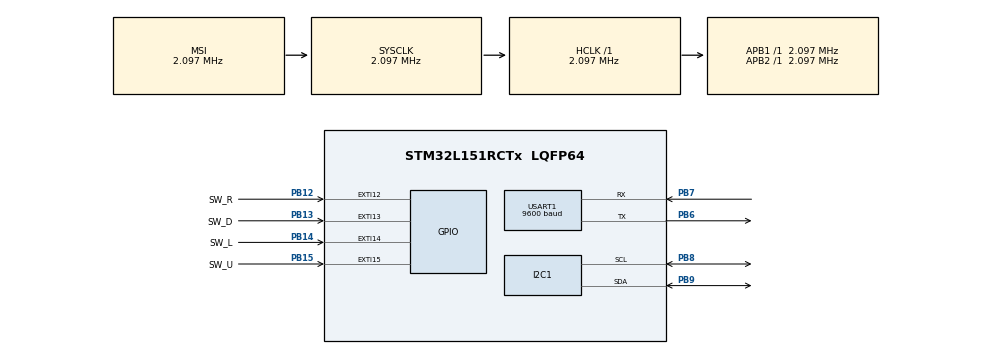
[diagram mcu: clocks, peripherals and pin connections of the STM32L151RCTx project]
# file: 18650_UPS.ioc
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Mcu.Family=STM32L1
Mcu.Name=STM32L151RCTx
Mcu.Package=LQFP64
NVIC.EXTI15_10_IRQn=true\:0\:0\:false\:false\:true\:true\:true
NVIC.PriorityGroup=NVIC_PRIORITYGROUP_4
NVIC.TIM2_IRQn=true\:0\:0\:false\:false\:true\:true\:true
PA13.Mode=Serial_Wire
PA13.Signal=SYS_JTMS-SWDIO
PA14.Mode=Serial_Wire
PA14.Signal=SYS_JTCK-SWCLK
PB12.GPIO_Label=SW_R
PB12.GPIO_ModeDefaultEXTI=GPIO_MODE_IT_FALLING
PB12.GPIO_PuPd=GPIO_PULLUP
PB12.Signal=GPXTI12
PB13.GPIO_Label=SW_D
PB13.GPIO_ModeDefaultEXTI=GPIO_MODE_IT_FALLING
PB13.GPIO_PuPd=GPIO_PULLUP
PB13.Signal=GPXTI13
PB14.GPIO_Label=SW_L
PB14.GPIO_ModeDefaultEXTI=GPIO_MODE_IT_FALLING
PB14.GPIO_PuPd=GPIO_PULLUP
PB14.Signal=GPXTI14
PB15.GPIO_Label=SW_U
PB15.GPIO_ModeDefaultEXTI=GPIO_MODE_IT_FALLING
PB15.GPIO_PuPd=GPIO_PULLUP
PB15.Signal=GPXTI15
PB6.GPIO_PuPd=GPIO_PULLUP
PB6.Mode=Asynchronous
PB6.Signal=USART1_TX
PB7.GPIO_PuPd=GPIO_PULLUP
PB7.Mode=Asynchronous
PB7.Signal=USART1_RX
PB8.Mode=I2C
PB8.Signal=I2C1_SCL
PB9.Mode=I2C
PB9.Signal=I2C1_SDA
ProjectManager.HeapSize=0x200
ProjectManager.StackSize=0x400
ProjectManager.TargetToolchain=STM32CubeIDE
RCC.AHBFreq_Value=2097000
RCC.APB1Freq_Value=2097000
RCC.APB1TimFreq_Value=2097000
RCC.APB2Freq_Value=2097000
RCC.APB2TimFreq_Value=2097000
RCC.HCLKFreq_Value=2097000
RCC.HSE_VALUE=24000000
RCC.HSI_VALUE=16000000
RCC.LSE_VALUE=32768
RCC.MSI_VALUE=2097000
RCC.SYSCLKFreq_VALUE=2097000
RCC.VCOOutputFreq_Value=48000000
TIM2.Period=50
TIM2.Prescaler=2097
USART1.BaudRate=9600
USART1.VirtualMode=VM_ASYNC
VP_TIM2_VS_ClockSourceINT.Mode=Internal
board=custom

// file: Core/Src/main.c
/* USER CODE BEGIN Header */
/**
  ******************************************************************************
  * @file           : main.c
  * @brief          : Main program body
  ******************************************************************************
  * @attention
  *
  * <h2><center>&copy; Copyright (c) 2021 STMicroelectronics.
  * All rights reserved.</center></h2>
  *
  * This software component is licensed by ST under BSD 3-Clause license,
  * the "License"; You may not use this file except in compliance with the
  * License. You may obtain a copy of the License at:
  *                        opensource.org/licenses/BSD-3-Clause
  *
  ******************************************************************************
  */
/* USER CODE END Header */
#include "main.h"

/* USER CODE BEGIN Includes */
#include "ssd1306.h"
#include "stdio.h"
/* USER CODE END Includes */

I2C_HandleTypeDef hi2c1;

TIM_HandleTypeDef htim2;

UART_HandleTypeDef huart1;

/* USER CODE BEGIN PV */
uint8_t aRxBuffer[3];
uint8_t TxBuffer[2];
uint8_t charBuffer[10];
uint16_t temp;

volatile uint8_t read_state = 0;
uint8_t state_SW_U = 0;
uint8_t state_SW_D = 0;
uint8_t state_SW_L = 0;
uint8_t state_SW_R = 0;

volatile uint8_t contrast = 0xFF;
volatile uint8_t charge_enable = 1;
volatile uint8_t usb_version = 2;
/* USER CODE END PV */

void SystemClock_Config(void);
static void MX_GPIO_Init(void);
static void MX_USART1_UART_Init(void);
static void MX_I2C1_Init(void);
static void MX_TIM2_Init(void);

int main(void)
{

  /* MCU Configuration--------------------------------------------------------*/

  /* Reset of all peripherals, Initializes the Flash interface and the Systick. */
  HAL_Init();

  /* Configure the system clock */
  SystemClock_Config();

  /* Initialize all configured peripherals */
  MX_GPIO_Init();
  MX_USART1_UART_Init();
  MX_I2C1_Init();
  MX_TIM2_Init();
  /* USER CODE BEGIN 2 */
  ssd1306_Init();

  //resetting ina237
  TxBuffer[0] = 0x80;
  TxBuffer[1] = 0x00;
  HAL_I2C_Mem_Write(&hi2c1, 0x45<<1, 0x00, 1, TxBuffer, sizeof(TxBuffer), 1000);

  //setting adc range
  TxBuffer[0] = 0x00;
  TxBuffer[1] = 0x10;
  HAL_I2C_Mem_Write(&hi2c1, 0x45<<1, 0x00, 1, TxBuffer, sizeof(TxBuffer), 1000);

  //calibrating shunt register
  TxBuffer[0] = 0x07;
  TxBuffer[1] = 0xD0;
  HAL_I2C_Mem_Write(&hi2c1, 0x45<<1, 0x02, 1, TxBuffer, sizeof(TxBuffer), 1000);

  //adc_config
  HAL_I2C_Mem_Read(&hi2c1, 0x45<<1, 0x01, 1, aRxBuffer, sizeof(aRxBuffer), 1000);
  temp = (aRxBuffer[0]<<8) | aRxBuffer[1];
  TxBuffer[0] = aRxBuffer[0];
  TxBuffer[1] = aRxBuffer[1] | 0x05;
  HAL_I2C_Mem_Write(&hi2c1, 0x45<<1, 0x01, 1, TxBuffer, sizeof(TxBuffer), 1000);

  //charge config default
  HAL_I2C_Mem_Read(&hi2c1, 0x09<<1, 0x01, 1, aRxBuffer, sizeof(aRxBuffer), 1000);
  TxBuffer[0] = 0b00000100; 	//charge enable and UVLO 2.8V
  TxBuffer[1] = 0x00;
  HAL_I2C_Mem_Write(&hi2c1, 0x09<<1, 0x01, 1, TxBuffer, 1, 1000);
  HAL_I2C_Mem_Read(&hi2c1, 0x09<<1, 0x01, 1, aRxBuffer, sizeof(aRxBuffer), 1000);

  //setting initial charge curretn to usb 2 compliant
  TxBuffer[0] = 0b01001011;
  TxBuffer[1] = 0x00;
  HAL_I2C_Mem_Write(&hi2c1, 0x09<<1, 0x00, 1, TxBuffer, 1, 1000);
  TxBuffer[0] = 0b00001110;
  TxBuffer[1] = 0x00;
  HAL_I2C_Mem_Write(&hi2c1, 0x09<<1, 0x02, 1, TxBuffer, 1, 1000);

  /* USER CODE END 2 */

  /* Infinite loop */
  while (1)
  {

    /* USER CODE BEGIN 3 */

	  ssd1306_Fill(Black);

	  switch (read_state) {
	  	  case 0:
	  		  //vbus
			  HAL_I2C_Mem_Read(&hi2c1, 0x45<<1, 0x05, 1, aRxBuffer, sizeof(aRxBuffer), 1000);
			  temp = 3.125*(float)((aRxBuffer[0]<<8) | aRxBuffer[1]);
			  sprintf(charBuffer, "%u mV", temp);
			  ssd1306_SetCursor(0, 14);
			  ssd1306_WriteString(&charBuffer, Font_11x18, White);
			  sprintf(charBuffer, "Voltage:");
			  ssd1306_SetCursor(0, 0);
			  ssd1306_WriteString(&charBuffer, Font_7x10, White);
			  ssd1306_DrawRectangle(124, 0, 127, 3, White);
			  ssd1306_DrawRectangle(125, 1, 126, 2, White);
	  		  break;
	  	  case 1:
			  //current
			  HAL_I2C_Mem_Read(&hi2c1, 0x45<<1, 0x07, 1, aRxBuffer, sizeof(aRxBuffer), 1000);
			  temp = 0.0610352*(float)((aRxBuffer[0]<<8) | aRxBuffer[1]);
			  sprintf(charBuffer, "%u mA", temp);
			  ssd1306_SetCursor(0, 14);
			  ssd1306_WriteString(&charBuffer, Font_11x18, White);
			  sprintf(charBuffer, "Current output:");
			  ssd1306_SetCursor(0, 0);
			  ssd1306_WriteString(&charBuffer, Font_7x10, White);
			  ssd1306_DrawRectangle(124, 4, 127, 7, White);
			  ssd1306_DrawRectangle(125, 5, 126, 6, White);
	  		  break;
	  	  case 2:
			  //power
			  HAL_I2C_Mem_Read(&hi2c1, 0x45<<1, 0x08, 1, aRxBuffer, sizeof(aRxBuffer), 1000);
			  temp = 0.2*0.0610352*(float)((aRxBuffer[0]<<16) | aRxBuffer[1]<<8 | aRxBuffer[0]);
			  sprintf(charBuffer, "%u mW", temp);
			  ssd1306_SetCursor(0, 14);
			  ssd1306_WriteString(&charBuffer, Font_11x18, White);
			  sprintf(charBuffer, "Power output:");
			  ssd1306_SetCursor(0, 0);
			  ssd1306_WriteString(&charBuffer, Font_7x10, White);
			  ssd1306_DrawRectangle(124, 8, 127, 11, White);
			  ssd1306_DrawRectangle(125, 9, 126, 10, White);
			  break;
	  	  case 3:
			  //dietemp
			  HAL_I2C_Mem_Read(&hi2c1, 0x45<<1, 0x06, 1, aRxBuffer, sizeof(aRxBuffer), 1000);
			  temp = 0.125*(float)((aRxBuffer[0]<<8) | aRxBuffer[1]);
			  temp = temp>>4;
			  sprintf(charBuffer, "%u C", temp);
			  ssd1306_SetCursor(0, 14);
			  ssd1306_WriteString(&charBuffer, Font_11x18, White);
			  sprintf(charBuffer, "Board temperature:");
			  ssd1306_SetCursor(0, 0);
			  ssd1306_WriteString(&charBuffer, Font_7x10, White);
			  ssd1306_DrawRectangle(124, 12, 127, 15, White);
			  ssd1306_DrawRectangle(125, 13, 126, 14, White);
			  break;
	  	  case 4:
			  //charge status
			  HAL_I2C_Mem_Read(&hi2c1, 0x09<<1, 0x07, 1, aRxBuffer, sizeof(aRxBuffer), 1000);
			  temp = (aRxBuffer[0] & 0b00011000)>>3;
			  switch (temp) {
				  case 0:
					  sprintf(charBuffer, "No charger");
					  ssd1306_SetCursor(0, 14);
					  ssd1306_WriteString(&charBuffer, Font_11x18, White);
					  break;
				  case 1:
					  sprintf(charBuffer, "Pre charge");
					  ssd1306_SetCursor(0, 14);
					  ssd1306_WriteString(&charBuffer, Font_11x18, White);
					  break;
				  case 2:
					  sprintf(charBuffer, "Charging...");
					  ssd1306_SetCursor(0, 14);
					  ssd1306_WriteString(&charBuffer, Font_11x18, White);
					  break;
				  case 3:
					  sprintf(charBuffer, "Done!");
					  ssd1306_SetCursor(0, 14);
					  ssd1306_WriteString(&charBuffer, Font_11x18, White);
					  break;
				  default:
					  break;
			  }
			  sprintf(charBuffer, "Charge status:");
			  ssd1306_SetCursor(0, 0);
			  ssd1306_WriteString(&charBuffer, Font_7x10, White);
			  ssd1306_DrawRectangle(124, 16, 127, 19, White);
			  ssd1306_DrawRectangle(125, 17, 126, 18, White);
			  break;
		  case 5:
			  if (charge_enable == 0) {
				  sprintf(charBuffer, "OFF");
				  ssd1306_SetCursor(1, 14);
				  ssd1306_WriteString(&charBuffer, Font_11x18, Black);
				  sprintf(charBuffer, "ON ");
				  ssd1306_SetCursor(38, 14);
				  ssd1306_WriteString(&charBuffer, Font_11x18, White);
			  } else if (charge_enable == 1) {
				  sprintf(charBuffer, "OFF");
				  ssd1306_SetCursor(1, 14);
				  ssd1306_WriteString(&charBuffer, Font_11x18, White);
				  sprintf(charBuffer, "ON ");
				  ssd1306_SetCursor(38, 14);
				  ssd1306_WriteString(&charBuffer, Font_11x18, Black);
			  }
			  ssd1306_DrawRectangle(0, 13, 70, 31, White);

			  sprintf(charBuffer, "Charge control:");
			  ssd1306_SetCursor(0, 0);
			  ssd1306_WriteString(&charBuffer, Font_7x10, White);
			  ssd1306_DrawRectangle(124, 20, 127, 23, White);
			  ssd1306_DrawRectangle(125, 21, 126, 22, White);
			  break;
		  case 6:
			  if (usb_version == 2) {
				  sprintf(charBuffer, "0.5A");
				  ssd1306_SetCursor(1, 14);
				  ssd1306_WriteString(&charBuffer, Font_11x18, Black);
				  sprintf(charBuffer, "1.0A");
				  ssd1306_SetCursor(50, 14);
				  ssd1306_WriteString(&charBuffer, Font_11x18, White);
			  } else if (usb_version == 3) {
				  sprintf(charBuffer, "0.5A");
				  ssd1306_SetCursor(1, 14);
				  ssd1306_WriteString(&charBuffer, Font_11x18, White);
				  sprintf(charBuffer, "1.0A ");
				  ssd1306_SetCursor(50, 14);
				  ssd1306_WriteString(&charBuffer, Font_11x18, Black);
			  }
			  ssd1306_DrawRectangle(0, 13, 104, 31, White);

			  sprintf(charBuffer, "USB current limit:");
			  ssd1306_SetCursor(0, 0);
			  ssd1306_WriteString(&charBuffer, Font_7x10, White);
			  ssd1306_DrawRectangle(124, 24, 127, 27, White);
			  ssd1306_DrawRectangle(125, 25, 126, 26, White);
			  break;
		  case 7:
			  switch (contrast) {
				  case 255:
					  sprintf(charBuffer, "100");
					  break;
				  case 191:
					  sprintf(charBuffer, "75");
					  break;
				  case 127:
					  sprintf(charBuffer, "50");
					  break;
				  case 63:
					  sprintf(charBuffer, "25");
					  break;
				  case 0:
					  sprintf(charBuffer, "0");
					  break;
				  default:
					  break;
			  }

			  ssd1306_SetCursor(0, 14);
			  ssd1306_WriteString(&charBuffer, Font_11x18, White);
			  sprintf(charBuffer, "Screen brightness:");
			  ssd1306_SetCursor(0, 0);
			  ssd1306_WriteString(&charBuffer, Font_7x10, White);
			  ssd1306_DrawRectangle(124, 28, 127, 31, White);
			  ssd1306_DrawRectangle(125, 29, 126, 30, White);
		  	  break;
	  	  default:
		  	  break;
	  }

	  ssd1306_UpdateScreen();

	  HAL_Delay(100);
  }
  /* USER CODE END 3 */
}

void SystemClock_Config(void)
{
  RCC_OscInitTypeDef RCC_OscInitStruct = {0};
  RCC_ClkInitTypeDef RCC_ClkInitStruct = {0};

  /** Configure the main internal regulator output voltage
  */
  __HAL_PWR_VOLTAGESCALING_CONFIG(PWR_REGULATOR_VOLTAGE_SCALE1);
  /** Initializes the RCC Oscillators according to the specified parameters
  * in the RCC_OscInitTypeDef structure.
  */
  RCC_OscInitStruct.OscillatorType = RCC_OSCILLATORTYPE_MSI;
  RCC_OscInitStruct.MSIState = RCC_MSI_ON;
  RCC_OscInitStruct.MSICalibrationValue = 0;
  RCC_OscInitStruct.MSIClockRange = RCC_MSIRANGE_5;
  RCC_OscInitStruct.PLL.PLLState = RCC_PLL_NONE;
  if (HAL_RCC_OscConfig(&RCC_OscInitStruct) != HAL_OK)
  {
    Error_Handler();
  }
  /** Initializes the CPU, AHB and APB buses clocks
  */
  RCC_ClkInitStruct.ClockType = RCC_CLOCKTYPE_HCLK|RCC_CLOCKTYPE_SYSCLK
                              |RCC_CLOCKTYPE_PCLK1|RCC_CLOCKTYPE_PCLK2;
  RCC_ClkInitStruct.SYSCLKSource = RCC_SYSCLKSOURCE_MSI;
  RCC_ClkInitStruct.AHBCLKDivider = RCC_SYSCLK_DIV1;
  RCC_ClkInitStruct.APB1CLKDivider = RCC_HCLK_DIV1;
  RCC_ClkInitStruct.APB2CLKDivider = RCC_HCLK_DIV1;

  if (HAL_RCC_ClockConfig(&RCC_ClkInitStruct, FLASH_LATENCY_0) != HAL_OK)
  {
    Error_Handler();
  }
}

static void MX_I2C1_Init(void)
{

  hi2c1.Instance = I2C1;
  hi2c1.Init.ClockSpeed = 100000;
  hi2c1.Init.DutyCycle = I2C_DUTYCYCLE_2;
  hi2c1.Init.OwnAddress1 = 0;
  hi2c1.Init.AddressingMode = I2C_ADDRESSINGMODE_7BIT;
  hi2c1.Init.DualAddressMode = I2C_DUALADDRESS_DISABLE;
  hi2c1.Init.OwnAddress2 = 0;
  hi2c1.Init.GeneralCallMode = I2C_GENERALCALL_DISABLE;
  hi2c1.Init.NoStretchMode = I2C_NOSTRETCH_DISABLE;
  if (HAL_I2C_Init(&hi2c1) != HAL_OK)
  {
    Error_Handler();
  }

}

static void MX_TIM2_Init(void)
{

  TIM_ClockConfigTypeDef sClockSourceConfig = {0};
  TIM_MasterConfigTypeDef sMasterConfig = {0};

  htim2.Instance = TIM2;
  htim2.Init.Prescaler = 2097;
  htim2.Init.CounterMode = TIM_COUNTERMODE_UP;
  htim2.Init.Period = 50;
  htim2.Init.ClockDivision = TIM_CLOCKDIVISION_DIV1;
  htim2.Init.AutoReloadPreload = TIM_AUTORELOAD_PRELOAD_DISABLE;
  if (HAL_TIM_Base_Init(&htim2) != HAL_OK)
  {
    Error_Handler();
  }
  sClockSourceConfig.ClockSource = TIM_CLOCKSOURCE_INTERNAL;
  if (HAL_TIM_ConfigClockSource(&htim2, &sClockSourceConfig) != HAL_OK)
  {
    Error_Handler();
  }
  sMasterConfig.MasterOutputTrigger = TIM_TRGO_RESET;
  sMasterConfig.MasterSlaveMode = TIM_MASTERSLAVEMODE_DISABLE;
  if (HAL_TIMEx_MasterConfigSynchronization(&htim2, &sMasterConfig) != HAL_OK)
  {
    Error_Handler();
  }

}

static void MX_USART1_UART_Init(void)
{

  huart1.Instance = USART1;
  huart1.Init.BaudRate = 9600;
  huart1.Init.WordLength = UART_WORDLENGTH_8B;
  huart1.Init.StopBits = UART_STOPBITS_1;
  huart1.Init.Parity = UART_PARITY_NONE;
  huart1.Init.Mode = UART_MODE_TX_RX;
  huart1.Init.HwFlowCtl = UART_HWCONTROL_NONE;
  huart1.Init.OverSampling = UART_OVERSAMPLING_16;
  if (HAL_UART_Init(&huart1) != HAL_OK)
  {
    Error_Handler();
  }

}

static void MX_GPIO_Init(void)
{
  GPIO_InitTypeDef GPIO_InitStruct = {0};

  /* GPIO Ports Clock Enable */
  __HAL_RCC_GPIOB_CLK_ENABLE();
  __HAL_RCC_GPIOA_CLK_ENABLE();

  /*Configure GPIO pins : SW_R_Pin SW_D_Pin SW_L_Pin SW_U_Pin */
  GPIO_InitStruct.Pin = SW_R_Pin|SW_D_Pin|SW_L_Pin|SW_U_Pin;
  GPIO_InitStruct.Mode = GPIO_MODE_IT_FALLING;
  GPIO_InitStruct.Pull = GPIO_PULLUP;
  HAL_GPIO_Init(GPIOB, &GPIO_InitStruct);

  /* EXTI interrupt init*/
  HAL_NVIC_SetPriority(EXTI15_10_IRQn, 0, 0);
  HAL_NVIC_EnableIRQ(EXTI15_10_IRQn);

}

/* USER CODE BEGIN 4 */
void HAL_GPIO_EXTI_Callback(uint16_t GPIO_Pin) {
	switch (GPIO_Pin) {
		case SW_U_Pin:
			state_SW_U = 1;
			HAL_TIM_Base_Start_IT(&htim2);
			break;
		case SW_D_Pin:
			state_SW_D = 1;
			HAL_TIM_Base_Start_IT(&htim2);
			break;
		case SW_L_Pin:
			state_SW_L = 1;
			HAL_TIM_Base_Start_IT(&htim2);
			break;
		case SW_R_Pin:
			state_SW_R = 1;
			HAL_TIM_Base_Start_IT(&htim2);
			break;
		default:
			break;
	}
}

void HAL_TIM_PeriodElapsedCallback(TIM_HandleTypeDef *htim)
{
  if (htim == &htim2) {
	 if (state_SW_U == 1 && HAL_GPIO_ReadPin(SW_U_GPIO_Port, SW_U_Pin) == GPIO_PIN_RESET) {
		 state_SW_U = 0;
		 HAL_TIM_Base_Stop_IT(&htim2);

		 if (read_state == 0) {
			 //read_state = 7;
		 } else {
			 read_state--;
		 }
	 }
	 if (state_SW_D == 1 && HAL_GPIO_ReadPin(SW_D_GPIO_Port, SW_D_Pin) == GPIO_PIN_RESET) {
		 state_SW_D = 0;
		 HAL_TIM_Base_Stop_IT(&htim2);

		 if (read_state == 7) {
			 //read_state = 0;
		 } else {
			 read_state++;
		 }
	 }
	 if (state_SW_L == 1 && HAL_GPIO_ReadPin(SW_L_GPIO_Port, SW_L_Pin) == GPIO_PIN_RESET) {
		 state_SW_L = 0;
		 HAL_TIM_Base_Stop_IT(&htim2);

		 switch (read_state) {
		 	 case 5:
		 		 charge_enable = 0;

		 		 HAL_I2C_Mem_Read(&hi2c1, 0x09<<1, 0x01, 1, aRxBuffer, sizeof(aRxBuffer), 1000);
		 		 TxBuffer[0] = aRxBuffer[0] | 0b00001000;
		 		 TxBuffer[1] = 0x00;
		 		 HAL_I2C_Mem_Write(&hi2c1, 0x09<<1, 0x01, 1, TxBuffer, 1, 1000);
		 		 HAL_I2C_Mem_Read(&hi2c1, 0x09<<1, 0x01, 1, aRxBuffer, sizeof(aRxBuffer), 1000);
		 		 break;
		 	 case 6:
		 		 usb_version = 2;
		 		 TxBuffer[0] = 0b01001011;
				 TxBuffer[1] = 0x00;
				 HAL_I2C_Mem_Write(&hi2c1, 0x09<<1, 0x00, 1, TxBuffer, 1, 1000);
				 TxBuffer[0] = 0b00001110;
				 TxBuffer[1] = 0x00;
				 HAL_I2C_Mem_Write(&hi2c1, 0x09<<1, 0x02, 1, TxBuffer, 1, 1000);
		 		 break;
		 	 case 7:
		 		 if (contrast > 63) {
		 			 contrast = contrast-64;
		 		 	 ssd1306_SetContrast(contrast);
		 		 } else if (contrast == 63) {
		 			 contrast = contrast-63;
		 			 ssd1306_SetContrast(contrast);
		 		 }
		 		 break;
		 	 default:
		 		 break;
		 }

	 }
	 if (state_SW_R == 1 && HAL_GPIO_ReadPin(SW_R_GPIO_Port, SW_R_Pin) == GPIO_PIN_RESET) {
		 state_SW_R = 0;
		 HAL_TIM_Base_Stop_IT(&htim2);

		 switch (read_state) {
		 	 case 5:
		 		 charge_enable = 1;
		 		 HAL_I2C_Mem_Read(&hi2c1, 0x09<<1, 0x01, 1, aRxBuffer, sizeof(aRxBuffer), 1000);
				 TxBuffer[0] = aRxBuffer[0] & 0b11110111;
				 TxBuffer[1] = 0x00;
				 HAL_I2C_Mem_Write(&hi2c1, 0x09<<1, 0x01, 1, TxBuffer, 1, 1000);
				 HAL_I2C_Mem_Read(&hi2c1, 0x09<<1, 0x01, 1, aRxBuffer, sizeof(aRxBuffer), 1000);
		 		 break;
		 	 case 6:
		 		 usb_version = 3;
		 		 TxBuffer[0] = 0b01001111;
				 TxBuffer[1] = 0x00;
				 HAL_I2C_Mem_Write(&hi2c1, 0x09<<1, 0x00, 1, TxBuffer, 1, 1000);
				 TxBuffer[0] = 0b00011100;
				 TxBuffer[1] = 0x00;
				 HAL_I2C_Mem_Write(&hi2c1, 0x09<<1, 0x02, 1, TxBuffer, 1, 1000);
		 		 break;
		 	 case 7:
		 		 if (contrast == 0) {
		 			 contrast = contrast+63;
		 		 	 ssd1306_SetContrast(contrast);
		 		 } else if (contrast > 0 && contrast != 255) {
		 			 contrast = contrast+64;
					 ssd1306_SetContrast(contrast);
		 		 }
		 		 break;
		 	 default:
		 		 break;
		 }
	 }
  }
}
/* USER CODE END 4 */

void Error_Handler(void)
{
  __disable_irq();
  while (1)
  {
  }
}

/************************ (C) COPYRIGHT STMicroelectronics *****END OF FILE****/
